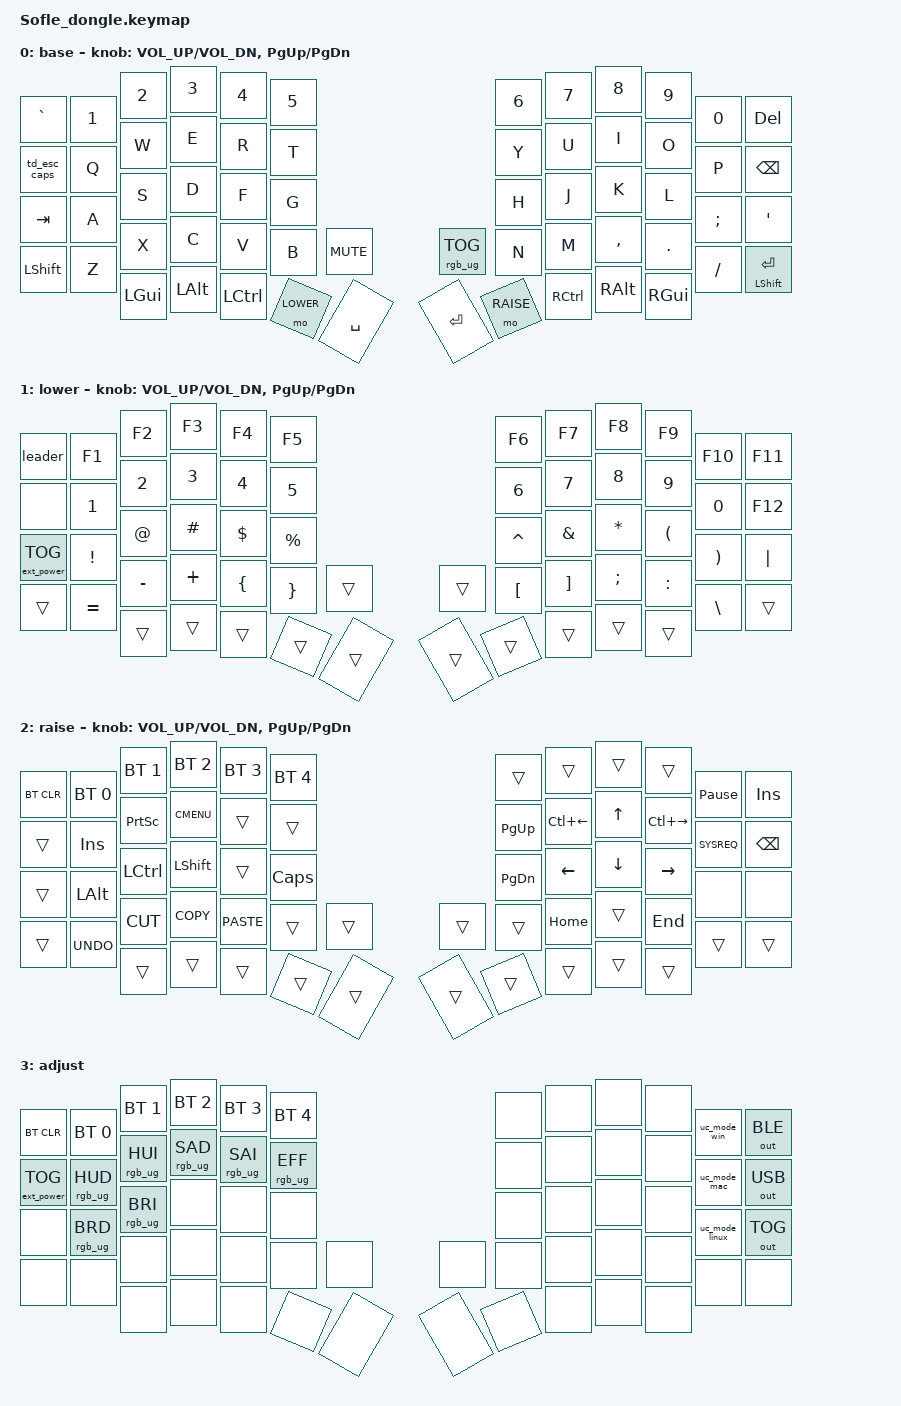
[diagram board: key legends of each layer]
/*
 * Copyright (c) 2020 The ZMK Contributors
 *
 * SPDX-License-Identifier: MIT
 */

#include <behaviors.dtsi>
#include <dt-bindings/zmk/keys.h>
#include <dt-bindings/zmk/bt.h>
#include <dt-bindings/zmk/rgb.h>
#include <dt-bindings/zmk/ext_power.h>
#include <dt-bindings/zmk/outputs.h>
#include <behaviors/unicode.dtsi>
#include <zmk-unicode/keys-full.h> 

#define BASE 0
#define LOWER 1
#define RAISE 2
#define ADJUST 3
/ {

   // Activate ADJUST layer by pressing raise and lower
    conditional_layers {
        compatible = "zmk,conditional-layers";
        adjust_layer {
            if-layers = <LOWER RAISE>;
            then-layer = <ADJUST>;
        };
    };
    combos {
        compatible = "zmk,combos";
        combo_greek {
            timeout-ms = <50>;
            key-positions = <17 29>; // T + G
            layers = <BASE>;
            bindings = <&greek>;
        };
        combo_fractions {
            timeout-ms = <50>;
            key-positions = <45 46>; // . + /
            layers = <BASE>;
            bindings = <&fractions>;
        };
    };
    behaviors {
        // Modifies ESCAPE to toggle CAPS_LOCK when double tapped
        td_esc_caps: td_esc_caps {
            compatible = "zmk,behavior-tap-dance";
            #binding-cells = <0>;
            tapping-term-ms = <200>;
            bindings = <&kp ESC>, <&kp CAPS>;
        };
        uc_mode_win: uc_mode_win {
            compatible = "zmk,behavior-mod-morph";
            #binding-cells = <0>;
            bindings = <&uc UC_SET_WIN_COMPOSE>, <&uc UC_SET_WIN_ALT>;
            mods = <(MOD_LSFT|MOD_RSFT)>;
        };
        uc_mode_mac: uc_mode_mac {
            compatible = "zmk,behavior-mod-morph";
            #binding-cells = <0>;
            bindings = <&uc UC_SET_MACOS>, <&uc UC_SET_EMACS>;
            mods = <(MOD_LSFT|MOD_RSFT)>;
        };
        uc_mode_linux: uc_mode_linux {
            compatible = "zmk,behavior-mod-morph";
            #binding-cells = <0>;
            bindings = <&uc UC_SET_LINUX>, <&uc UC_SET_LINUX_ALT>;
            mods = <(MOD_LSFT|MOD_RSFT)>;
        };
        // Special Other-Lang Letters
        leader: leader {
            compatible = "zmk,behavior-leader-key";
            #binding-cells = <0>;
            ignore-keys = <LSHFT RSHFT>;
            
            // German Umlauts
            de_ae { sequence = <COLON A>; bindings = <&uc UC_DE_AE>; }; // ä/Ä
            de_oe { sequence = <COLON O>; bindings = <&uc UC_DE_OE>; }; // ö/Ö
            de_ue { sequence = <COLON U>; bindings = <&uc UC_DE_UE>; }; // ü/Ü

            // Danish/Norwegian/Swedish Letters
            sw_ae { sequence = <A E>; bindings = <&uc UC_DA_AE>; }; // æ/Æ
            sw_oe { sequence = <FSLH O>; bindings = <&uc UC_DA_OE>; }; // ø/Ø
            sw_aa { sequence = <O A>; bindings = <&uc UC_DA_AA>; }; // å/Å

            // French Circmflex
            fr_ca { sequence = <CARET A>; bindings = <&uc UC_FR_A_CIRCUMFLEX>; }; // â/Â
            fr_ce { sequence = <CARET E>; bindings = <&uc UC_FR_E_CIRCUMFLEX>; }; // ê/Ê
            fr_ci { sequence = <CARET I>; bindings = <&uc UC_FR_I_CIRCUMFLEX>; }; // î/Î
            fr_co { sequence = <CARET O>; bindings = <&uc UC_FR_O_CIRCUMFLEX>; }; // ô/Ô
            fr_cu { sequence = <CARET U>; bindings = <&uc UC_FR_U_CIRCUMFLEX>; }; // û/Û
            // French Cedilla
            fr_cs { sequence = <C S>;     bindings = <&uc UC_FR_C_CEDILLA>; }; // ç/Ç
            
            // Currencies, see https://github.com/urob/zmk-unicode/blob/main/include/zmk-unicode/keys/currency.h
            currency_USD { sequence = <U S D>; bindings = <&uc UC_CURR_DOLLAR>; }; // $(Dollar)
            currency_USC { sequence = <U S C>; bindings = <&uc UC_CURR_CENT>; };   // ¢(Cent)
            
            currency_GBP { sequence = <G B P>; bindings = <&uc UC_CURR_POUND>; };  // £(Pound/GBP)
            currency_EUR { sequence = <E U R>; bindings = <&uc UC_CURR_EURO>; };   // €(Euro/EUR)
            currency_PHP { sequence = <P H P>; bindings = <&uc UC_CURR_PESO>; };   // ₱(Peso/PHP)
            currency_JPY { sequence = <J P Y>; bindings = <&uc UC_CURR_YEN>; };    // ¥(Yen/JPY)

            // USE/BLE toggles
            usb { sequence = <U S B>; bindings = <&out OUT_USB>; };
            ble { sequence = <B L E>; bindings = <&out OUT_BLE>; };
        };
        greek: greek {
            compatible = "zmk,behavior-leader-key";
            #binding-cells = <0>;
            ignore-keys = <LSHFT RSHFT>;
            // Greek Letters
            el_alpha   { sequence = <A L P H A>;     bindings = <&uc UC_EL_ALPHA>; };  // α/Α
            el_beta    { sequence = <B E T A>;       bindings = <&uc UC_EL_BETA>; };   // β/Β
            el_gamma   { sequence = <G A M M A>;     bindings = <&uc UC_EL_GAMMA>; };  // γ/Γ
            el_delta   { sequence = <D E L T A>;     bindings = <&uc UC_EL_DELTA>; };  // δ/Δ
            el_epsilon { sequence = <E P S I L O N>; bindings = <&uc UC_EL_EPSILON>; };// ε/Ε
            el_zeta    { sequence = <Z E T A>;       bindings = <&uc UC_EL_ZETA>; };   // ζ/Ζ
            el_eta     { sequence = <E T A>;         bindings = <&uc UC_EL_ETA>; };    // η/Η
            el_theta   { sequence = <T H E T A>;     bindings = <&uc UC_EL_THETA>; };  // θ/Θ
            el_iota    { sequence = <I O T A>;       bindings = <&uc UC_EL_IOTA>; };   // ι/Ι
            el_kappa   { sequence = <K A P P A>;     bindings = <&uc UC_EL_KAPPA>; };  // κ/Κ
            el_lambda  { sequence = <L A M B D A>;   bindings = <&uc UC_EL_LAMBDA>; }; // λ/Λ
            el_mu      { sequence = <M U>;           bindings = <&uc UC_EL_MU>; };     // μ/Μ
            el_nu      { sequence = <N U>;           bindings = <&uc UC_EL_NU>; };     // ν/Ν
            el_xi      { sequence = <X I>;           bindings = <&uc UC_EL_XI>; };     // ξ/Ξ
            el_omikron { sequence = <O M I C R O N>; bindings = <&uc UC_EL_OMIKRON>; };// ο/Ο
            el_pi      { sequence = <P I>;           bindings = <&uc UC_EL_PI>; };     // π/Π
            el_rho     { sequence = <R H O>;         bindings = <&uc UC_EL_RHO>; };    // ρ/Ρ
            el_sigma   { sequence = <S I G M A>;     bindings = <&uc UC_EL_SIGMA>; };  // σ/Σ
            el_tau     { sequence = <T A U>;         bindings = <&uc UC_EL_TAU>; };    // τ/Τ
            el_upsilon { sequence = <U P S I L O N>; bindings = <&uc UC_EL_UPSILON>; };// υ/Υ
            el_phi     { sequence = <P H I>;         bindings = <&uc UC_EL_PHI>; };    // φ/Φ
            el_chi     { sequence = <C H I>;         bindings = <&uc UC_EL_CHI>; };    // χ/Χ
            el_psi     { sequence = <P S I>;         bindings = <&uc UC_EL_PSI>; };    // ψ/Ψ
            el_omega   { sequence = <O M E G A>;     bindings = <&uc UC_EL_OMEGA>; };  // ω/Ω
            // SYMBOL FORMS
            el_epsilon_sym { sequence = <E P S I L O N S>; bindings = <&uc UC_EL_EPSILON_SYM>; }; // ϵ/Ε
            el_theta_sym   { sequence = <T H E T A S>;     bindings = <&uc UC_EL_THETA_SYM>; };   // ϑ/Θ
            el_kappa_sym   { sequence = <K A P P A S>;     bindings = <&uc UC_EL_KAPPA_SYM>; };   // ϰ/Κ
            el_pi_sym      { sequence = <P I S>;           bindings = <&uc UC_EL_PI_SYM>; };      // ϖ/Ω
            el_rho_sym     { sequence = <R H O S>;         bindings = <&uc UC_EL_RHO_SYM>; };     // ϱ/Ρ
            el_phi_sym     { sequence = <P H I S>;         bindings = <&uc UC_EL_PHI_SYM>; };     // φ/Φ
        };
        // TODO: Runic https://github.com/urob/zmk-unicode/blob/main/include/zmk-unicode/keys/blocks/runic.h
        // runic: runic {};
        fractions: fractions {
            compatible = "zmk,behavior-leader-key";
            #binding-cells = <0>;
            ignore-keys = <LSHFT RSHFT>;
            frac_1_3  { sequence = <N1 FSLH N3>;    bindings = <&uc UC_VULGAR_FRACTION_ONE_THIRD>; };    // ⅓
            frac_2_3  { sequence = <N2 FSLH N3>;    bindings = <&uc UC_VULGAR_FRACTION_TWO_THIRDS>; };   // ⅔
            frac_1_5  { sequence = <N1 FSLH N5>;    bindings = <&uc UC_VULGAR_FRACTION_ONE_FIFTH>; };    // ⅕
            frac_2_5  { sequence = <N2 FSLH N5>;    bindings = <&uc UC_VULGAR_FRACTION_TWO_FIFTHS>; };   // ⅖
            frac_3_5  { sequence = <N3 FSLH N5>;    bindings = <&uc UC_VULGAR_FRACTION_THREE_FIFTHS>; }; // ⅗
            frac_4_5  { sequence = <N4 FSLH N5>;    bindings = <&uc UC_VULGAR_FRACTION_FOUR_FIFTHS>; };  // ⅘
            frac_1_6  { sequence = <N1 FSLH N6>;    bindings = <&uc UC_VULGAR_FRACTION_ONE_SIXTH>; };    // ⅙
            frac_5_6  { sequence = <N5 FSLH N6>;    bindings = <&uc UC_VULGAR_FRACTION_FIVE_SIXTHS>; };  // ⅚
            frac_1_7  { sequence = <N1 FSLH N7>;    bindings = <&uc UC_VULGAR_FRACTION_ONE_SEVENTH>; };  // ⅐
            frac_1_8  { sequence = <N1 FSLH N8>;    bindings = <&uc UC_VULGAR_FRACTION_ONE_EIGHTH>; };   // ⅛
            frac_3_8  { sequence = <N3 FSLH N8>;    bindings = <&uc UC_VULGAR_FRACTION_THREE_EIGHTHS>; };// ⅜
            frac_5_8  { sequence = <N5 FSLH N8>;    bindings = <&uc UC_VULGAR_FRACTION_FIVE_EIGHTHS>; }; // ⅝
            frac_7_8  { sequence = <N7 FSLH N8>;    bindings = <&uc UC_VULGAR_FRACTION_SEVEN_EIGHTHS>; };// ⅞
            frac_1_9  { sequence = <N1 FSLH N9>;    bindings = <&uc UC_VULGAR_FRACTION_ONE_NINTH>; };    // ⅑
            frac_1_10 { sequence = <N1 FSLH N1 N0>; bindings = <&uc UC_VULGAR_FRACTION_ONE_TENTH>; };    // ⅒
        };
        // TODO: Mathematical Symbols, see: 
        //  https://github.com/urob/zmk-unicode/blob/main/include/zmk-unicode/keys/blocks/miscellaneous_mathematical_symbols_a.h
        //  https://github.com/urob/zmk-unicode/blob/main/include/zmk-unicode/keys/blocks/mathematical_operators.h
        //  https://github.com/urob/zmk-unicode/blob/main/include/zmk-unicode/keys/blocks/general_punctuation.h
        
        // Letterlikes, see: https://github.com/urob/zmk-unicode/blob/main/include/zmk-unicode/keys/blocks/letterlike_symbols.h
        // ACTIVATE: <NONE>
        letterlike: letterlike {
            compatible = "zmk,behavior-leader-key";
            #binding-cells = <0>;
            ignore-keys = <LSHFT RSHFT>;
            ll_deg_c { sequence = <O C>;    bindings = <&uc UC_DEGREE_CELSIUS>; };               // ℃
            ll_deg_f { sequence = <O F>;    bindings = <&uc UC_DEGREE_FAHRENHEIT>; };            // ℉
            ll_accof { sequence = <A FSLH O>;    bindings = <&uc UC_ACCOUNT_OF>; };              // ℀
            ll_adsbj { sequence = <A FSLH S>;    bindings = <&uc UC_ADDRESSED_TO_THE_SUBJECT>; };// ℁
            ll_caref  { sequence = <C FSLH O>;    bindings = <&uc UC_CARE_OF>; };                // ℅
            ll_cdun  { sequence = <C FSLH U>;    bindings = <&uc UC_CADA_UNA>; };                // ℆
            ll_ohm   { sequence = <O H M>;    bindings = <&uc UC_OHM_SIGN>; };                   // Ω
        };
        // Control Pictures, see: https://github.com/urob/zmk-unicode/blob/main/include/zmk-unicode/keys/blocks/control_pictures.h
        // ACTIVATE: <NONE>
        control_pic: control_pic {
            compatible = "zmk,behavior-leader-key";
            #binding-cells = <0>;
            ignore-keys = <LSHFT RSHFT>;
            cp_null { sequence = <N U L L>;    bindings = <&uc UC_SYMBOL_FOR_NULL>; }; // ␀
            cp_ack  { sequence = <A C K>;  bindings = <&uc UC_SYMBOL_FOR_ACKNOWLEDGE>; };          // ␆
            cp_nak  { sequence = <N A K>;  bindings = <&uc UC_SYMBOL_FOR_NEGATIVE_ACKNOWLEDGE>; }; // ␕
            cp_syn  { sequence = <S Y N>;  bindings = <&uc UC_SYMBOL_FOR_SYNCHRONOUS_IDLE>; };     // ␖
            cp_cr   { sequence = <C R>;    bindings = <&uc UC_SYMBOL_FOR_CARRIAGE_RETURN>; };      // ␍
            cp_lf   { sequence = <L F>;    bindings = <&uc UC_SYMBOL_FOR_LINE_FEED>; };            // ␊
            cp_esc  { sequence = <E S C>;  bindings = <&uc UC_SYMBOL_FOR_ESCAPE>; };               // ␛
        };
        // Arrows: https://github.com/urob/zmk-unicode/blob/main/include/zmk-unicode/keys/blocks/arrows.h
        arrows: arrows {
             compatible = "zmk,behavior-leader-key";
            #binding-cells = <0>;
            ignore-keys = <LSHFT RSHFT>;
            // I J K L arrows
            arr_l { sequence = <J PERIOD>;    bindings = <&uc UC_LEFTWARDS_ARROW>; }; // ←
            arr_u { sequence = <I PERIOD>;    bindings = <&uc UC_UPWARDS_ARROW>; }; // ↑
            arr_r { sequence = <L PERIOD>;    bindings = <&uc UC_RIGHTWARDS_ARROW>; }; // →
            arr_d { sequence = <K PERIOD>;    bindings = <&uc UC_DOWNWARDS_ARROW>; }; // ↓
            // Hook arrows
            arr_lh { sequence = <J H>;     bindings = <&uc UC_LEFTWARDS_ARROW_WITH_HOOK>; }; // ↩
            arr_rh { sequence = <L H>;     bindings = <&uc UC_RIGHTWARDS_ARROW_WITH_HOOK>; }; // ↪

            // Directional harpoons: <direction> H <barb-direction>
            arr_lhu { sequence = <J H U>;  bindings = <&uc UC_LEFTWARDS_HARPOON_WITH_BARB_UPWARDS>; }; // ↼
            arr_lhd { sequence = <J H D>;  bindings = <&uc UC_LEFTWARDS_HARPOON_WITH_BARB_DOWNWARDS>; }; // ↽
            arr_uhr { sequence = <I H R>;  bindings = <&uc UC_UPWARDS_HARPOON_WITH_BARB_RIGHTWARDS>; }; // ↾
            arr_uhl { sequence = <I H L>;  bindings = <&uc UC_UPWARDS_HARPOON_WITH_BARB_LEFTWARDS>; }; // ↿
            arr_rhu { sequence = <L H U>;  bindings = <&uc UC_RIGHTWARDS_HARPOON_WITH_BARB_UPWARDS>; }; // ⇀
            arr_rhd { sequence = <L H D>;  bindings = <&uc UC_RIGHTWARDS_HARPOON_WITH_BARB_DOWNWARDS>; }; // ⇁
            arr_dhr { sequence = <K H R>;  bindings = <&uc UC_DOWNWARDS_HARPOON_WITH_BARB_RIGHTWARDS>; }; // ⇂
            arr_dhl { sequence = <K H L>;  bindings = <&uc UC_DOWNWARDS_HARPOON_WITH_BARB_LEFTWARDS>; }; // ⇃

            // Compound arrows
            arr_rol { sequence = <R O L>;  bindings = <&uc UC_RIGHTWARDS_ARROW_OVER_LEFTWARDS_ARROW>; }; // ⇄
            arr_uod { sequence = <U O D>;  bindings = <&uc UC_UPWARDS_ARROW_LEFTWARDS_OF_DOWNWARDS_ARROW>; }; // ⇅
            arr_lor { sequence = <L O R>;  bindings = <&uc UC_LEFTWARDS_ARROW_OVER_RIGHTWARDS_ARROW>; }; // ⇆

            // Paired arrows
            arr_pl { sequence = <P L>;     bindings = <&uc UC_LEFTWARDS_PAIRED_ARROWS>; }; // ⇇
            arr_pu { sequence = <P U>;     bindings = <&uc UC_UPWARDS_PAIRED_ARROWS>; }; // ⇈
            arr_pr { sequence = <P R>;     bindings = <&uc UC_RIGHTWARDS_PAIRED_ARROWS>; }; // ⇉
            arr_pd { sequence = <P D>;     bindings = <&uc UC_DOWNWARDS_PAIRED_ARROWS>; }; // ⇊

            // Harpoon-over-harpoon
            arr_lho { sequence = <L H O>;  bindings = <&uc UC_LEFTWARDS_HARPOON_OVER_RIGHTWARDS_HARPOON>; }; // ⇋
            arr_rho { sequence = <R H O>;  bindings = <&uc UC_RIGHTWARDS_HARPOON_OVER_LEFTWARDS_HARPOON>; }; // ⇌
        };
        // TODO: Alchemical Symbols, see: https://github.com/urob/zmk-unicode/blob/main/include/zmk-unicode/keys/blocks/alchemical_symbols.h
    };

    keymap {
        compatible = "zmk,keymap";   

        default_layer {
            display-name = "base";
// ------------------------------------------------------------------------------------------------------------
// ╭───────┬─────┬─────┬─────┬─────┬─────╮                 ╭─────┬─────┬─────┬─────┬─────┬───────╮
// │   `   │  1  │  2  │  3  │  4  │  5  │                 │  6  │  7  │  8  │  9  │  0  │  DEL  │
// ├───────┼─────┼─────┼─────┼─────┼─────┤                 ├─────┼─────┼─────┼─────┼─────┼───────┤
// │  ESC  │  Q  │  W  │  E  │  R  │  T  │                 │  Y  │  U  │  I  │  O  │  P  │ BKSPC │
// ├───────┼─────┼─────┼─────┼─────┼─────┤                 ├─────┼─────┼─────┼─────┼─────┼───────┤
// │  TAB  │  A  │  S  │  D  │  F  │  G  │                 │  H  │  J  │  K  │  L  │  ;  │   '   │
// ├───────┼─────┼─────┼─────┼─────┼─────┼──────╮  ╭───────┼─────┼─────┼─────┼─────┼─────┼───────┤
// │ SHIFT │  Z  │  X  │  C  │  V  │  B  │ MUTE │  │RGB_TOG│ N   │  M  │  ,  │  .  │  /  │ SHIFT │
// ╰───────┴─────┼─────┼─────┼─────┼─────┼──────┤  ├───────┼─────┼─────┼─────┼─────┼─────┴───────╯
//               │ GUI │ ALT │ CTRL│LOWER│SPACE │  │ ENTER │RAISE│CTRL │ ALT │ GUI │
//               ╰─────┴─────┴─────┴─────┴──────╯  ╰───────┴─────┴─────┴─────┴─────╯
            bindings = <
&kp GRAVE    &kp N1 &kp N2   &kp N3   &kp N4    &kp N5                                     &kp N6 &kp N7    &kp N8    &kp N9   &kp N0   &kp DEL
&td_esc_caps &kp Q  &kp W    &kp E    &kp R     &kp T                                      &kp Y  &kp U     &kp I     &kp O    &kp P    &kp BSPC
&kp TAB      &kp A  &kp S    &kp D    &kp F     &kp G                                      &kp H  &kp J     &kp K     &kp L    &kp SEMI &kp SQT
&kp LSHFT    &kp Z  &kp X    &kp C    &kp V     &kp B      &kp C_MUTE &rgb_ug RGB_TOG      &kp N  &kp M     &kp COMMA &kp DOT  &kp FSLH &mt LSHIFT RET
                    &kp LGUI &kp LALT &kp LCTRL &mo LOWER  &kp SPACE              &kp RET  &mo RAISE  &kp RCTRL &kp RALT  &kp RGUI
            >;

            sensor-bindings = <&inc_dec_kp C_VOL_UP C_VOL_DN &inc_dec_kp PG_UP PG_DN>;
        };

        lower_layer {
            display-name = "lower";
// TODO: Some binds are waiting for shifted keycode support.
// ------------------------------------------------------------------------------------------------------------
// ╭───────┬─────┬─────┬─────┬─────┬─────╮                 ╭─────┬─────┬─────┬─────┬─────┬───────╮
// │LEADER │ F1  │ F2  │ F3  │ F4  │ F5  │                 │ F6  │ F7  │ F8  │ F9  │ F10 │  F11  │
// ├───────┼─────┼─────┼─────┼─────┼─────┤                 ├─────┼─────┼─────┼─────┼─────┼───────┤
// │       │  1  │  2  │  3  │  4  │  5  │                 │  6  │  7  │  8  │  9  │  0  │  F12  │
// ├───────┼─────┼─────┼─────┼─────┼─────┤                 ├─────┼─────┼─────┼─────┼─────┼───────┤
// │       │  !  │  @  │  #  │  $  │  %  │                 │  ^  │  &  │  *  │  (  │  )  │   |   │
// ├───────┼─────┼─────┼─────┼─────┼─────┼──────╮  ╭───────┼─────┼─────┼─────┼─────┼─────┼───────┤
// │       │  =  │  -  │  +  │  {  │  }  │      │  │       │  [  │  ]  │  ;  │  :  │  \  │       │
// ╰───────┴─────┴─────┼─────┼─────┼─────┼──────┤  ├───────┼─────┼─────┼─────┼─────┼─────┴───────╯
//                     │     │     │     │      │  │       │     │     │     │     │
//                     ╰─────┴─────┴─────┴──────╯  ╰───────┴─────┴─────┴─────┴─────╯
            bindings = <
&leader    &kp F1    &kp F2    &kp F3      &kp F4    &kp F5                       &kp F6    &kp F7   &kp F8    &kp F9    &kp F10   &kp F11
&none     &kp N1    &kp N2    &kp N3      &kp N4    &kp N5                       &kp N6    &kp N7   &kp N8    &kp N9    &kp N0    &kp F12
&ext_power EP_TOG   &kp EXCL  &kp AT      &kp HASH  &kp DLLR  &kp PRCNT          &kp CARET &kp AMPS &kp ASTRK &kp LPAR  &kp RPAR  &kp PIPE
&trans    &kp EQUAL &kp MINUS &kp PLUS    &kp LBRC  &kp RBRC  &trans     &trans  &kp LBKT  &kp RBKT &kp SEMI  &kp COLON &kp BSLH  &trans
                    &trans    &trans      &trans    &trans    &trans     &trans  &trans    &trans   &trans    &trans
            >;

            sensor-bindings = <&inc_dec_kp C_VOL_UP C_VOL_DN &inc_dec_kp PG_UP PG_DN>;
        };

        raise_layer {
            display-name = "raise";
// ------------------------------------------------------------------------------------------------------------
// ╭───────┬─────┬─────┬─────┬─────┬─────╮                 ╭─────┬────────┬─────┬────────┬───────┬────────╮
// │ BTCLR │ BT1 │ BT2 │ BT3 │ BT4 │ BT5 │                 │     │        │     │        │ PSBRK │ INSERT │
// ├───────┼─────┼─────┼─────┼─────┼─────┤                 ├─────┼────────┼─────┼────────┼───────┼────────┤
// │       │ INS │PSCR │ GUI │     │     │                 │PGUP │ PVWORD │  ↑  │ NXWORD │SYSREQ │ BKSPC  │
// ├───────┼─────┼─────┼─────┼─────┼─────┤                 ├─────┼────────┼─────┼────────┼───────┼────────┤
// │       │ ALT │CTRL │SHIFT│     │CAPS │                 │PGDN │   ←    │  ↓  │   →    │       │        │
// ├───────┼─────┼─────┼─────┼─────┼─────┼──────╮  ╭───────┼─────┼────────┼─────┼────────┼───────┼────────┤
// │       │UNDO │ CUT │COPY │PASTE│     │      │  │       │     │ HOME   │     │  END   │       │        │
// ╰───────┴─────┴─────┼─────┼─────┼─────┼──────┤  ├───────┼─────┼────────┼─────┼────────┴───────┴────────╯
//                     │     │     │     │      │  │       │     │        │     │        │
//                     ╰─────┴─────┴─────┴──────╯  ╰───────┴─────┴────────┴─────┴────────╯
            bindings = <
&bt BT_CLR &bt BT_SEL 0 &bt BT_SEL 1 &bt BT_SEL 2 &bt BT_SEL 3 &bt BT_SEL 4                  &trans    &trans    &trans   &trans    &kp PAUSE_BREAK  &kp INSERT
&trans     &kp INS      &kp PSCRN    &kp K_CMENU  &trans       &trans                        &kp PG_UP &kp LC(LEFT)    &kp UP   &kp LC(RIGHT)        &kp SYSREQ  &kp BSPC
&trans     &kp LALT     &kp LCTRL    &kp LSHFT    &trans       &kp CLCK                      &kp PG_DN &kp LEFT  &kp DOWN &kp RIGHT &none            &none
&trans     &kp K_UNDO   &kp K_CUT    &kp K_COPY   &kp K_PASTE  &trans        &trans  &trans  &trans    &kp HOME  &trans   &kp END   &trans           &trans
                        &trans       &trans       &trans       &trans        &trans  &trans  &trans    &trans    &trans   &trans
            >;

            sensor-bindings = <&inc_dec_kp C_VOL_UP C_VOL_DN &inc_dec_kp PG_UP PG_DN>;
        };

        adjust_layer {
            display-name = "adjust";
// ----------------------------------------------------------------------------------------------------------------------------
// ╭────────┬─────────┬─────────┬─────────┬─────────┬─────────╮                  ╭─────┬─────┬─────┬─────┬────────┬────────╮
// │ BTCLR  │   BT1   │   BT2   │   BT3   │   BT4   │   BT5   │                  │     │     │     │     │ UC WIN │OUT BLE │
// ├────────┼─────────┼─────────┼─────────┼─────────┼─────────┤                  ├─────┼─────┼─────┼─────┼────────┼────────┤
// │ EXTPWR │ RGB_HUD │ RGB_HUI │ RGB_SAD │ RGB_SAI │ RGB_EFF │                  │     │     │     │     │ UC MAC │OUT USB │
// ├────────┼─────────┼─────────┼─────────┼─────────┼─────────┤                  ├─────┼─────┼─────┼─────┼────────┼────────┤
// │        │ RGB_BRD │ RGB_BRI │         │         │         │                  │     │     │     │     │ UC LIN │OUT TOG │
// ├────────┼─────────┼─────────┼─────────┼─────────┼─────────┼───────╮  ╭───────┼─────┼─────┼─────┼─────┼────────┼────────┤
// │        │         │         │         │         │         │RGB_TOG│  │       │     │     │     │     │        │        │
// ╰────────┴─────────┴─────────┼─────────┼─────────┼─────────┼───────┤  ├───────┼─────┼─────┼─────┼─────┴────────┴────────╯
//                              │         │         │         │       │  │       │     │     │     │     │
//                              ╰─────────┴─────────┴─────────┴───────╯  ╰───────┴─────┴─────┴─────┴─────╯
            bindings = <
&bt BT_CLR        &bt BT_SEL 0    &bt BT_SEL 1    &bt BT_SEL 2    &bt BT_SEL 3    &bt BT_SEL 4                            &none &none &none &none &uc_mode_win &out OUT_BLE
&ext_power EP_TOG &rgb_ug RGB_HUD &rgb_ug RGB_HUI &rgb_ug RGB_SAD &rgb_ug RGB_SAI &rgb_ug RGB_EFF                         &none &none &none &none &uc_mode_mac &out OUT_USB 
&none             &rgb_ug RGB_BRD &rgb_ug RGB_BRI &none           &none           &none                                   &none &none &none &none &uc_mode_linux  &out OUT_TOG
&none             &none           &none           &none           &none           &none            &none           &none  &none &none &none &none &none &none
                                  &none           &none           &none           &none            &none           &none  &none &none &none &none
            >;
        };
        extra1 {
            status = "reserved";
        };
        extra2 {
            status = "reserved";
        };
        extra3 {
            status = "reserved";
        };
        extra4 {
            status = "reserved";
        };

    };
};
